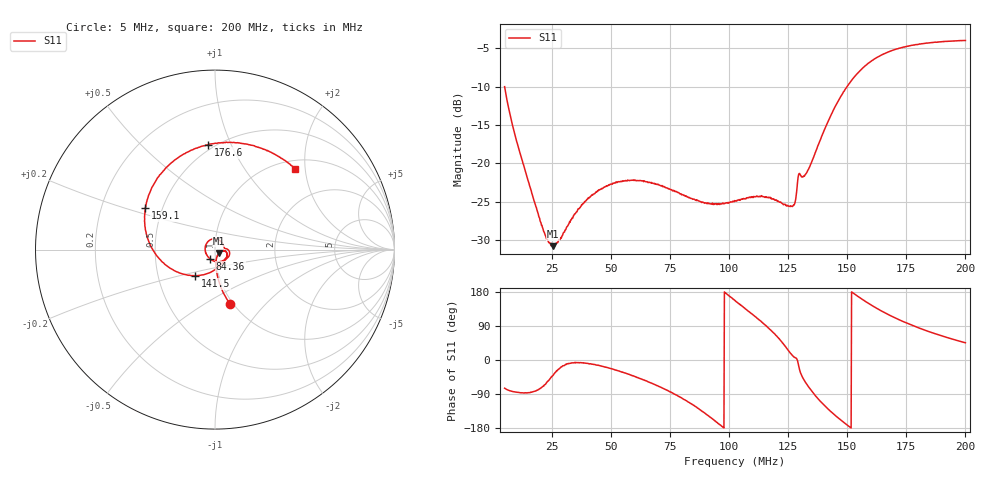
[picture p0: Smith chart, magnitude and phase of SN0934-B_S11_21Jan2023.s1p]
# Hz S DB R 50
! CMT, M5045, 22160017, 22.4.3/2
! Date: 1/21/2023 20:40:33
! Data: Format (Calibration Info)
! Freq	S11:dB/Ang(F1)
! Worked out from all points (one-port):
!   1001 points, 5 MHz to 200 MHz, reference 50 ohm
!   lowest |S11| = -30.8 dB at 25.28 MHz (marker M1), VSWR 1.06, Z = 52.1 - j2.02 ohm
!   |S11| at or under -10 dB: 5.005 MHz to 149.9 MHz (144.9 MHz wide, 187 % of centre)
!   S11 on the Smith chart (normalised r, x): 5 MHz: 0.97, -0.66; 84.36 MHz: 0.94, -0.10; 141.5 MHz: 0.77, -0.23; 159.1 MHz: 0.40, +0.23; 176.6 MHz: 0.46, +0.83; 200 MHz: 1.17, +1.76
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5000000  -9.99 -74.4
1.046e7  -17.50 -85.3
1.9625e7  -27.07 -76.7
2.2745e7  -29.87 -59.5
2.528e7  -30.82 -42.1
2.9375e7  -29.43 -16.8
4.01e7  -24.63 -9.1
5.375e7  -22.42 -30.0
6.3305e7  -22.29 -51.6
7.8125e7  -23.78 -94.0
8.4365e7  -24.62 -117.3
9.275e7  -25.29 -154.7
1.025e8  -24.93 156.5
1.16345e8  -24.44 86.5
1.26875e8  -25.62 11.5
1.2785e8  -25.16 6.5
1.298e8  -21.33 -25.0
1.3331e8  -20.92 -68.1
1.415e8  -14.79 -126.9
1.46375e8  -11.77 -153.8
1.5125e8  -9.42 -177.5
1.5515e8  -7.98 165.2
1.5905e8  -6.91 149.2
1.67435e8  -5.45 119.7
1.75625e8  -4.70 96.2
1.766e8  -4.65 93.6
1.8635e8  -4.22 71.0
2e8  -3.96 45.4
